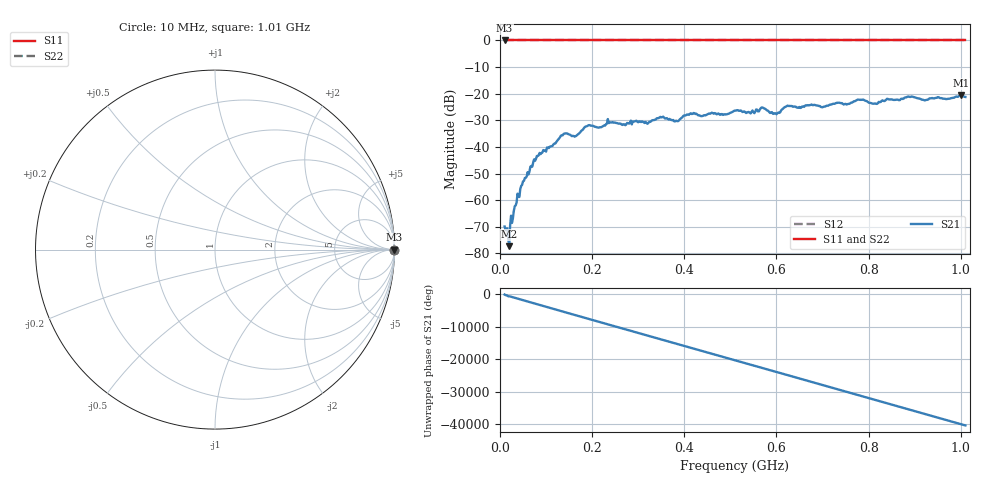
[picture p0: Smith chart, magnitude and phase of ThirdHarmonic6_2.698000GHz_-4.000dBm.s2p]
! 8/17/2025 6:26:28 AM
! C:\ANRITSUVNA\TEMP\TEMP.S2P
! CHANNEL.1
! TR.MEASUREMENT
! RAW.DATA
! RF.CORRECTION.OFF
! AVERAGING.OFF
! IF.BANDWIDTH: 5KHZ
! SWEEPTYPE:  FREQ.SWEEP(Linear)
! Reference Plane Port Info
! PORT:  PORT1  PORT2
! DISTANCE:  0  m  0  m
! TIME:  0  s  0  s
! PHASE.OFFSET:  0  deg.  0  deg.
! LOSS:  0  dB  0  dB
! REF.LOSS:  0  dB  0  dB
! REF.FREQ:  0  Hz  0  Hz
! Power Info
! POWER:  -20  dBm  -20  dBm
! EFF.POWER:  -20  dBm  -20  dBm
! SOURCE.ATTEN:  0  dB  0  dB
! TEST.ATTEN:  0  dB  0  dB
# GHZ S RI R 50.0
! FREQ.GHZ  S11RE  S11IM  S21RE  S21IM  S12RE  S12IM  S22RE  S22IM
!; PortSelection: Port_12
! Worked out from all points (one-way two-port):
!   501 points, 10 MHz to 1.01 GHz, reference 50 ohm
!   highest |S21| = -20.63 dB at 1 GHz (marker M1); lowest = -77.3 dB at 20 MHz (marker M2)
!   lowest |S11| = 0.0 dB at 10 MHz (marker M3)
!   |S11| at or under -10 dB: nowhere
!   |S22| runs from 0.0 to 0.0 dB; largest |S21 - S12| = 1.1
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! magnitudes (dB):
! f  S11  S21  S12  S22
! 10 MHz  0.0  -69.9  0.0  0.0
! 16 MHz  0.0  -70.7  0.0  0.0
! 20 MHz  0.0  -77.3  0.0  0.0
! 34 MHz  0.0  -62.0  0.0  0.0
! 48 MHz  0.0  -54.2  0.0  0.0
! 78 MHz  0.0  -44.6  0.0  0.0
! 136 MHz  0.0  -35.6  0.0  0.0
! 164 MHz  0.0  -36.0  0.0  0.0
! 178 MHz  0.0  -33.7  0.0  0.0
! 238 MHz  0.0  -30.9  0.0  0.0
! 318 MHz  0.0  -31.0  0.0  0.0
! 344 MHz  0.0  -29.2  0.0  0.0
! 382 MHz  0.0  -30.2  0.0  0.0
! 416 MHz  0.0  -27.6  0.0  0.0
! 510 MHz  0.0  -26.4  0.0  0.0
! 570 MHz  0.0  -25.2  0.0  0.0
! 598 MHz  0.0  -27.4  0.0  0.0
! 624 MHz  0.0  -24.5  0.0  0.0
! 678 MHz  0.0  -24.3  0.0  0.0
! 844 MHz  0.0  -22.2  0.0  0.0
! 1 GHz  0.0  -20.6  0.0  0.0
! 1.01 GHz  0.0  -21.2  0.0  0.0
